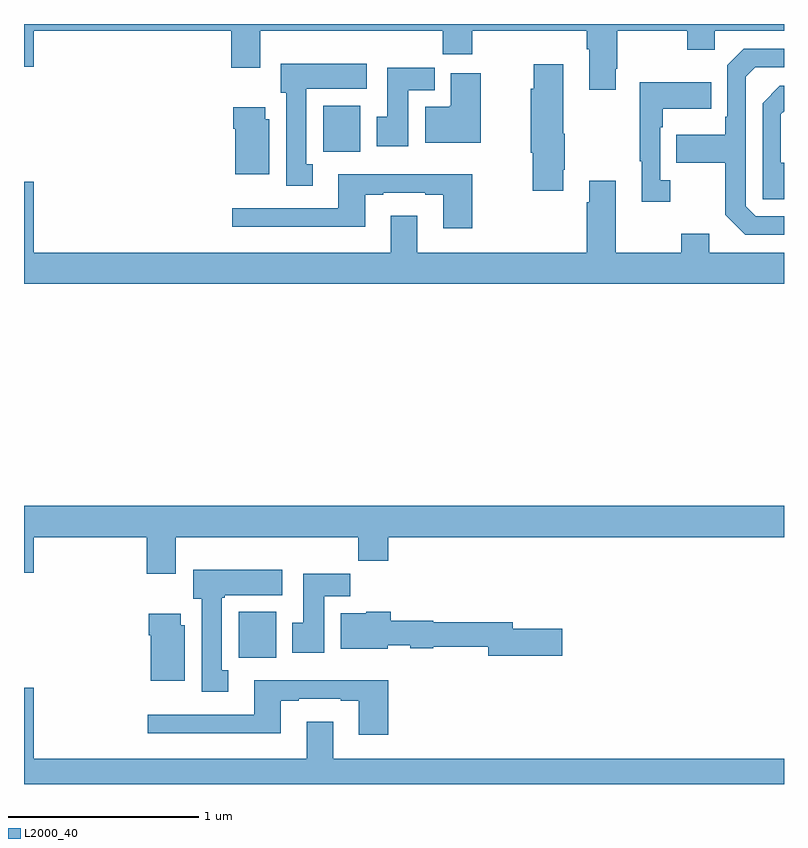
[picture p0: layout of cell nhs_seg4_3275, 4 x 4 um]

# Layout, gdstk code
import gdstk
lib = gdstk.Library(unit=1e-6, precision=1e-09)
def R(c, l, rs):  # rectangles x0, y0, x1, y1
    for r in rs: c.add(gdstk.rectangle(r[:2], r[2:], *l))
def P(c, l, *ps):  # polygons
    for p in ps: c.add(gdstk.Polygon(p, *l))
L2000_40 = (2000, 40)

nhs_seg4_3275 = lib.new_cell('nhs_seg4_3275')
R(nhs_seg4_3275, L2000_40, [(286.13,749.564,286.327,749.806), (286.574,752.228,286.771,752.47)])
P(nhs_seg4_3275, L2000_40, [(288.115,752.665),(288.123,752.665),(288.123,752.864),(288.49,752.864),(288.49,752.765),(288.636,752.765),(288.636,752.864),(289,752.864),(289,752.9),(285,752.9),(285,752.676),(285.052,752.676),(285.052,752.864),(286.091,752.864),(286.091,752.67),(286.243,752.67),(286.243,752.864),(287.203,752.864),(287.203,752.74),(287.36,752.74),(287.36,752.864),(287.963,752.864),(287.963,752.768),(287.975,752.768),(287.975,752.553),(288.115,752.553)],
  [(289,751.887),(288.852,751.887),(288.798,751.941),(288.798,752.622),(288.849,752.673),(289,752.673),(289,752.769),(288.789,752.769),(288.702,752.682),(288.702,752.413),(288.69,752.413),(288.69,752.317),(288.433,752.317),(288.433,752.17),(288.69,752.17),(288.69,751.897),(288.795,751.791),(289,751.791)],
  [(286.519,752.162),(286.486,752.162),(286.486,752.558),(286.804,752.558),(286.804,752.692),(286.352,752.692),(286.352,752.538),(286.379,752.538),(286.379,752.049),(286.519,752.049)],
  [(287.839,752.134),(287.847,752.134),(287.847,752.323),(287.839,752.323),(287.839,752.689),(287.684,752.689),(287.684,752.559),(287.666,752.559),(287.666,752.223),(287.677,752.223),(287.677,752.022),(287.839,752.022)],
  [(287.023,752.552),(287.161,752.552),(287.161,752.67),(286.913,752.67),(286.913,752.412),(286.856,752.412),(286.856,752.256),(287.023,752.256)],
  [(287.404,752.641),(287.246,752.641),(287.246,752.47),(287.24,752.47),(287.24,752.464),(287.111,752.464),(287.111,752.276),(287.404,752.276)],
  [(288.4,752.078),(288.348,752.078),(288.348,752.357),(288.361,752.357),(288.361,752.453),(288.617,752.453),(288.617,752.593),(288.24,752.593),(288.24,752.177),(288.251,752.177),(288.251,751.965),(288.4,751.965)],
  [(289,752.17),(288.984,752.17),(288.984,752.424),(289,752.44),(289,752.574),(288.978,752.574),(288.888,752.484),(288.888,751.977),(289,751.977)],
  [(286.291,752.4),(286.27,752.4),(286.27,752.461),(286.1,752.461),(286.1,752.348),(286.112,752.348),(286.112,752.108),(286.291,752.108)],
  [(287.36,752.11),(286.655,752.11),(286.655,751.929),(286.095,751.929),(286.095,751.832),(286.795,751.832),(286.795,752.001),(286.891,752.001),(286.891,752.013),(287.111,752.013),(287.111,752.001),(287.207,752.001),(287.207,751.824),(287.36,751.824)],
  [(289,751.696),(288.607,751.696),(288.607,751.795),(288.46,751.795),(288.46,751.696),(288.115,751.696),(288.115,752.074),(287.975,752.074),(287.975,751.961),(287.963,751.961),(287.963,751.696),(287.071,751.696),(287.071,751.891),(286.931,751.891),(286.931,751.696),(285.052,751.696),(285.052,752.071),(285,752.071),(285,751.532),(289,751.532)],
  [(285.799,750.2),(286.759,750.2),(286.759,750.076),(286.916,750.076),(286.916,750.2),(289,750.2),(289,750.364),(285,750.364),(285,750.012),(285.052,750.012),(285.052,750.2),(285.647,750.2),(285.647,750.006),(285.799,750.006)],
  [(286.075,749.498),(286.042,749.498),(286.042,749.881),(286.056,749.881),(286.056,749.894),(286.36,749.894),(286.36,750.028),(285.89,750.028),(285.89,749.874),(285.935,749.874),(285.935,749.385),(286.075,749.385)],
  [(286.579,749.888),(286.718,749.888),(286.718,750.007),(286.469,750.007),(286.469,749.748),(286.412,749.748),(286.412,749.592),(286.579,749.592)],
  [(287.833,749.718),(287.572,749.718),(287.572,749.752),(287.154,749.752),(287.154,749.76),(286.931,749.76),(286.931,749.806),(286.8,749.806),(286.8,749.8),(286.667,749.8),(286.667,749.612),(286.914,749.612),(286.914,749.63),(287.034,749.63),(287.034,749.615),(287.154,749.615),(287.154,749.623),(287.444,749.623),(287.444,749.576),(287.833,749.576)],
  [(285.847,749.736),(285.826,749.736),(285.826,749.797),(285.656,749.797),(285.656,749.684),(285.668,749.684),(285.668,749.444),(285.847,749.444)],
  [(286.916,749.446),(286.211,749.446),(286.211,749.265),(285.651,749.265),(285.651,749.168),(286.351,749.168),(286.351,749.337),(286.447,749.337),(286.447,749.349),(286.667,749.349),(286.667,749.337),(286.763,749.337),(286.763,749.16),(286.916,749.16)],
  [(289,749.032),(286.627,749.032),(286.627,749.227),(286.487,749.227),(286.487,749.032),(285.052,749.032),(285.052,749.407),(285,749.407),(285,748.9),(289,748.9)])

lib.write_gds('nhs_seg4_3275.gds')
